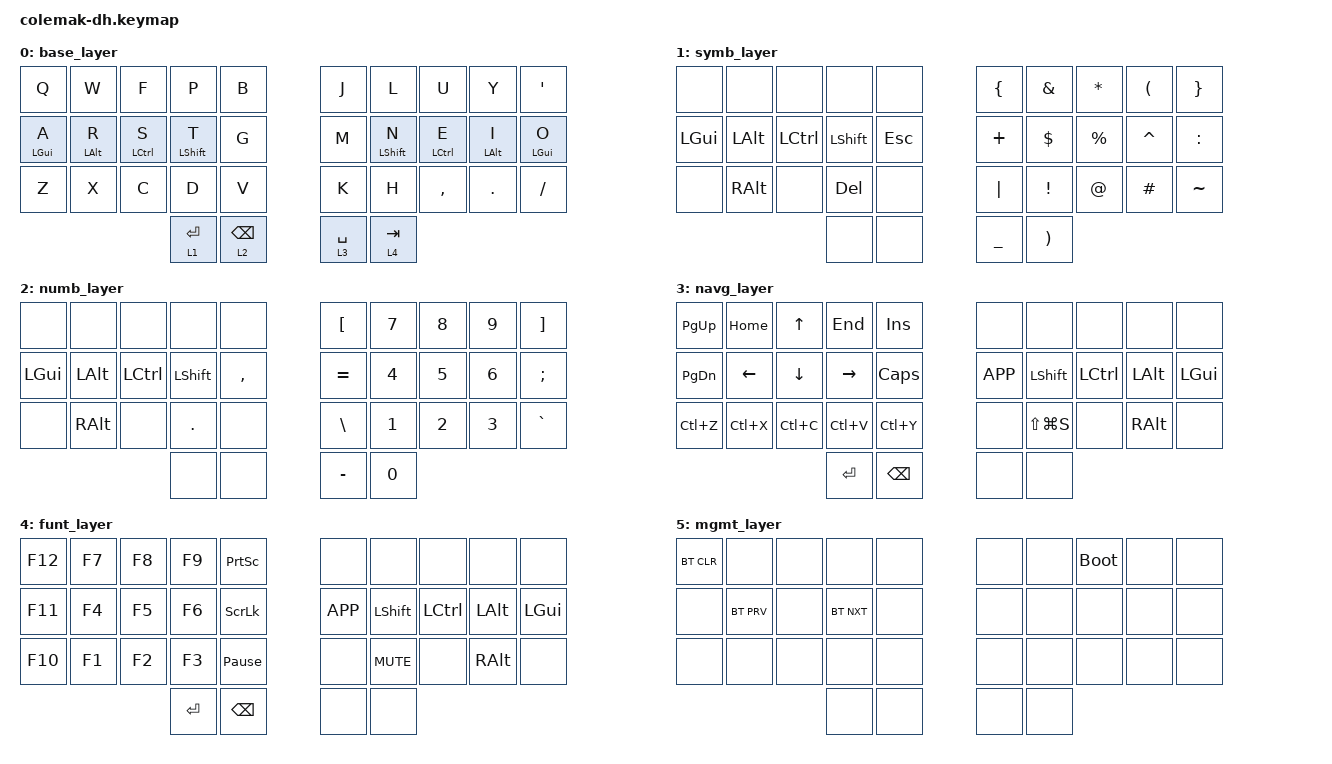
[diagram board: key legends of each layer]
#include <behaviors.dtsi>
#include <dt-bindings/zmk/keys.h>
#include <dt-bindings/zmk/bt.h>


// Derived from https://github.com/guruc13/zmk_sweep_colemak_dh
// Which is derived from https://github.com/manna-harbour/miryoku

// adjust mod-tap
&mt {
    flavor = "tap-preferred";
    tapping_term_ms = <300>;
};

/ {

    combos {
        compatible = "zmk,combos";
        combo_esc {
            timeout-ms = <50>;
            key-positions = <1 2>;
            bindings = <&kp ESC>;
         };
        combo_bspc {
            timeout-ms = <50>;
            key-positions = <7 8>;
            bindings = <&kp BSPC>;
        };
    };


    conditional_layers {
        compatible = "zmk,conditional-layers";
        cond_layer_mgmt {
            if-layers = <1 4>;
            then-layer = <5>;
        };
    };


    keymap {
        compatible = "zmk,keymap";

        base_layer {
        bindings = <
        &kp Q              &kp W              &kp F              &kp P              &kp B              &kp J              &kp L              &kp U              &kp Y              &kp APOS
        &mt LGUI A         &mt LALT R         &mt LCTRL S        &mt LSHFT T        &kp G              &kp M              &mt LSHFT N        &mt LCTRL E        &mt LALT I         &mt LGUI O
        &kp Z              &kp X              &kp C              &kp D              &kp V              &kp K              &kp H              &kp COMMA          &kp PERIOD         &kp SLASH
                                                                 &lt 1 ENTER        &lt 2 BSPC         &lt 3 SPACE        &lt 4 TAB
        >;
        };

        symb_layer {
        bindings = <
        &none              &none              &none              &none              &none              &kp LBRC           &kp AMPS           &kp ASTRK          &kp LPAR           &kp RBRC
        &kp LGUI           &kp LALT           &kp LCTRL          &kp LSHFT          &kp ESC            &kp PLUS           &kp DLLR           &kp PRCNT          &kp CARET          &kp COLON
        &none              &kp RALT           &none              &kp DEL            &none              &kp PIPE           &kp EXCL           &kp AT             &kp HASH           &kp TILDE
                                                                 &none              &none              &kp UNDER          &kp RPAR
        >;
        };

        numb_layer {
        bindings = <
        &none              &none              &none              &none              &none              &kp LBKT           &kp N7             &kp N8             &kp N9             &kp RBKT
        &kp LGUI           &kp LALT           &kp LCTRL          &kp LSHFT          &kp COMMA          &kp EQUAL          &kp N4             &kp N5             &kp N6             &kp SCLN
        &none              &kp RALT           &none              &kp PERIOD         &none              &kp BSLH           &kp N1             &kp N2             &kp N3             &kp GRAVE
                                                                 &none              &none              &kp MINUS          &kp N0
        >;
        };

        navg_layer {
        bindings = <
        &kp PG_UP          &kp HOME           &kp UP             &kp END            &kp INS            &none              &none              &none               &none              &none
        &kp PG_DN          &kp LEFT           &kp DOWN           &kp RIGHT          &kp CAPS           &kp K_APP          &kp LSHFT          &kp LCTRL           &kp LALT           &kp LGUI
        &kp LC(Z)          &kp LC(X)          &kp LC(C)          &kp LC(V)          &kp LC(Y)          &none              &kp LS(LG(S))      &none               &kp RALT           &none
                                                                 &kp ENTER          &kp BSPC           &none              &none
        >;
        };

        funt_layer {
        bindings = <
        &kp F12            &kp F7             &kp F8             &kp F9             &kp PSCRN          &none             &none               &none               &none              &none
        &kp F11            &kp F4             &kp F5             &kp F6             &kp SLCK           &kp K_APP         &kp LSHFT           &kp LCTRL           &kp LALT           &kp LGUI
        &kp F10            &kp F1             &kp F2             &kp F3             &kp PAUSE_BREAK    &none             &kp K_MUTE          &none               &kp RALT           &none
                                                                 &kp ENTER          &kp BSPC           &none             &none
        >;
        };
        
        mgmt_layer {
        bindings = <
        &bt BT_CLR         &none              &none              &none              &none              &none             &none               &bootloader         &none              &none
        &none              &bt BT_PRV         &none              &bt BT_NXT         &none              &none             &none               &none               &none              &none
        &none              &none              &none              &none              &none              &none             &none               &none               &none              &none
                                                                 &none              &none              &none             &none
        >;
        };
    };    
};
